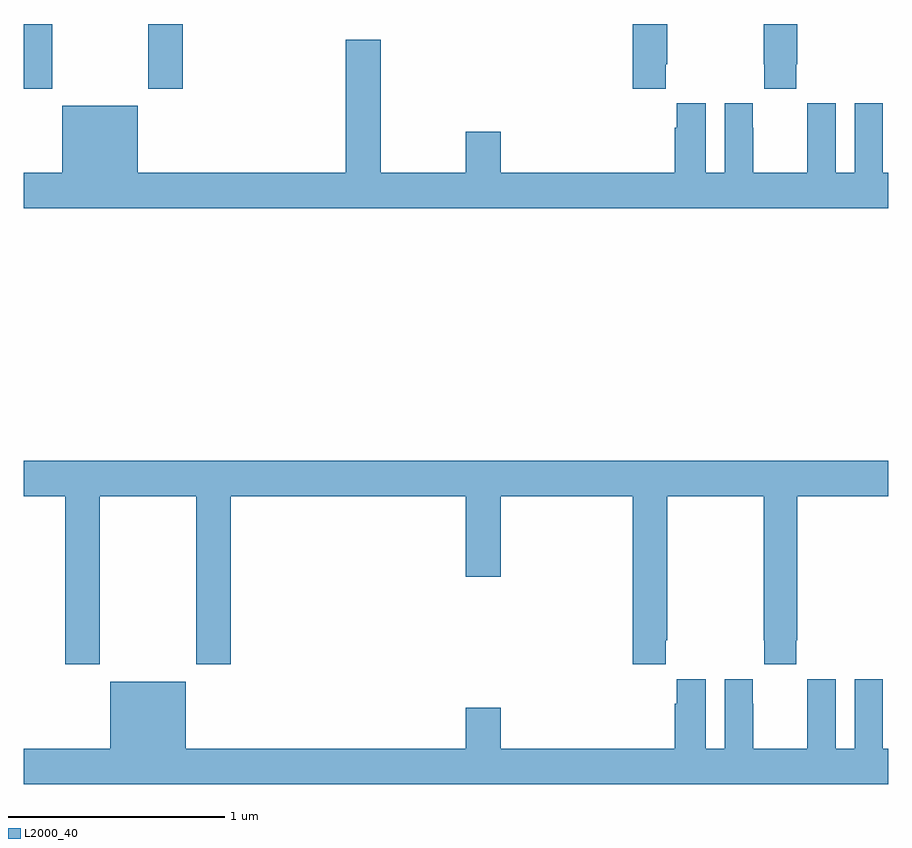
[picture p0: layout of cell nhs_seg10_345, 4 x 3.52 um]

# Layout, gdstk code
import gdstk
lib = gdstk.Library(unit=1e-6, precision=1e-09)
def R(c, l, rs):  # rectangles x0, y0, x1, y1
    for r in rs: c.add(gdstk.rectangle(r[:2], r[2:], *l))
def P(c, l, *ps):  # polygons
    for p in ps: c.add(gdstk.Polygon(p, *l))
L2000_40 = (2000, 40)

nhs_seg10_345 = lib.new_cell('nhs_seg10_345')
R(nhs_seg10_345, L2000_40, [(127,1302.201,127.131,1302.5), (127.576,1302.201,127.736,1302.5)])
P(nhs_seg10_345, L2000_40, [(130.575,1302.313),(130.578,1302.313),(130.578,1302.5),(130.423,1302.5),(130.423,1302.313),(130.425,1302.313),(130.425,1302.201),(130.575,1302.201)],
  [(129.971,1302.313),(129.977,1302.313),(129.977,1302.5),(129.818,1302.5),(129.818,1302.201),(129.971,1302.201)],
  [(131,1301.812),(130.975,1301.812),(130.975,1302.02),(130.974,1302.02),(130.974,1302.133),(130.844,1302.133),(130.844,1301.812),(130.756,1301.812),(130.756,1302.133),(130.626,1302.133),(130.626,1302.02),(130.625,1302.02),(130.625,1301.812),(130.375,1301.812),(130.375,1302.02),(130.374,1302.02),(130.374,1302.133),(130.244,1302.133),(130.244,1301.812),(130.156,1301.812),(130.156,1302.133),(130.022,1302.133),(130.022,1302.02),(130.013,1302.02),(130.013,1301.812),(129.208,1301.812),(129.208,1302.001),(129.044,1302.001),(129.044,1301.812),(128.653,1301.812),(128.653,1302.427),(128.489,1302.427),(128.489,1301.812),(127.528,1301.812),(127.528,1302.121),(127.178,1302.121),(127.178,1301.812),(127,1301.812),(127,1301.648),(131,1301.648)],
  [(127.353,1300.316),(127.798,1300.316),(127.798,1299.537),(127.958,1299.537),(127.958,1300.316),(129.044,1300.316),(129.044,1299.942),(129.208,1299.942),(129.208,1300.316),(129.818,1300.316),(129.818,1299.537),(129.971,1299.537),(129.971,1299.649),(129.977,1299.649),(129.977,1300.316),(130.423,1300.316),(130.423,1299.649),(130.425,1299.649),(130.425,1299.537),(130.575,1299.537),(130.575,1299.649),(130.578,1299.649),(130.578,1300.316),(131,1300.316),(131,1300.48),(127,1300.48),(127,1300.316),(127.193,1300.316),(127.193,1299.537),(127.353,1299.537)],
  [(130.974,1299.356),(130.974,1299.469),(130.844,1299.469),(130.844,1299.148),(130.756,1299.148),(130.756,1299.469),(130.626,1299.469),(130.626,1299.356),(130.625,1299.356),(130.625,1299.148),(130.375,1299.148),(130.375,1299.356),(130.374,1299.356),(130.374,1299.469),(130.244,1299.469),(130.244,1299.148),(130.156,1299.148),(130.156,1299.469),(130.022,1299.469),(130.022,1299.356),(130.013,1299.356),(130.013,1299.148),(129.208,1299.148),(129.208,1299.337),(129.044,1299.337),(129.044,1299.148),(127.75,1299.148),(127.75,1299.457),(127.4,1299.457),(127.4,1299.148),(127,1299.148),(127,1298.984),(131,1298.984),(131,1299.148),(130.975,1299.148),(130.975,1299.356)])

lib.write_gds('nhs_seg10_345.gds')
